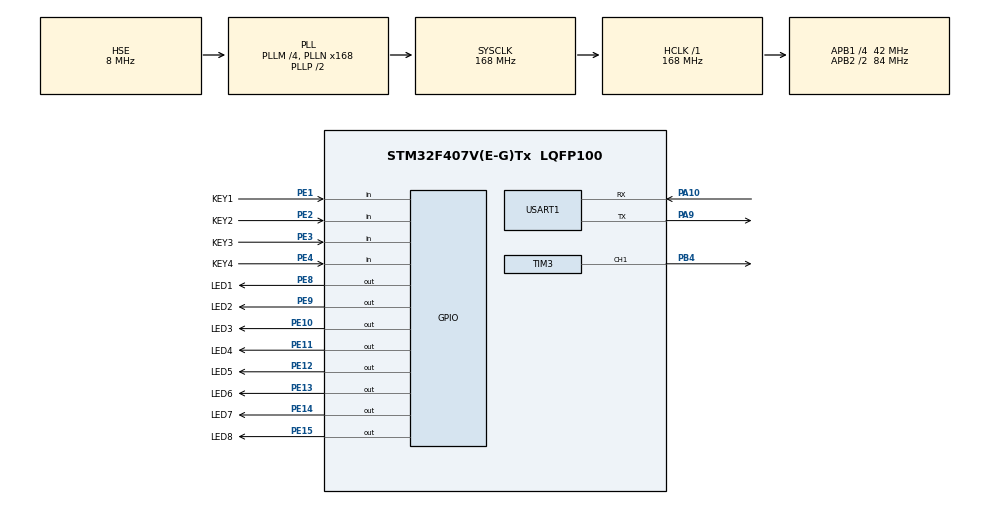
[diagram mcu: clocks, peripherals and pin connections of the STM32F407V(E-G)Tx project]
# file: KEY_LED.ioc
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Mcu.Family=STM32F4
Mcu.Name=STM32F407V(E-G)Tx
Mcu.Package=LQFP100
NVIC.PriorityGroup=NVIC_PRIORITYGROUP_4
NVIC.TIM2_IRQn=true\:1\:0\:true\:false\:true\:true\:true
PA10.Mode=Asynchronous
PA10.Signal=USART1_RX
PA13.Mode=Serial_Wire
PA13.Signal=SYS_JTMS-SWDIO
PA14.Mode=Serial_Wire
PA14.Signal=SYS_JTCK-SWCLK
PA9.Mode=Asynchronous
PA9.Signal=USART1_TX
PB4.Signal=S_TIM3_CH1
PE1.GPIO_Label=KEY1
PE1.GPIO_PuPd=GPIO_PULLUP
PE1.Signal=GPIO_Input
PE10.GPIO_Label=LED3
PE10.PinState=GPIO_PIN_SET
PE10.Signal=GPIO_Output
PE11.GPIO_Label=LED4
PE11.PinState=GPIO_PIN_SET
PE11.Signal=GPIO_Output
PE12.GPIO_Label=LED5
PE12.PinState=GPIO_PIN_SET
PE12.Signal=GPIO_Output
PE13.GPIO_Label=LED6
PE13.PinState=GPIO_PIN_SET
PE13.Signal=GPIO_Output
PE14.GPIO_Label=LED7
PE14.PinState=GPIO_PIN_SET
PE14.Signal=GPIO_Output
PE15.GPIO_Label=LED8
PE15.PinState=GPIO_PIN_SET
PE15.Signal=GPIO_Output
PE2.GPIO_Label=KEY2
PE2.GPIO_PuPd=GPIO_PULLUP
PE2.Signal=GPIO_Input
PE3.GPIO_Label=KEY3
PE3.GPIO_PuPd=GPIO_PULLUP
PE3.Signal=GPIO_Input
PE4.GPIO_Label=KEY4
PE4.GPIO_PuPd=GPIO_PULLUP
PE4.Signal=GPIO_Input
PE8.GPIO_Label=LED1
PE8.PinState=GPIO_PIN_SET
PE8.Signal=GPIO_Output
PE9.GPIO_Label=LED2
PE9.PinState=GPIO_PIN_SET
PE9.Signal=GPIO_Output
PH0-OSC_IN.Mode=HSE-External-Oscillator
PH0-OSC_IN.Signal=RCC_OSC_IN
PH1-OSC_OUT.Mode=HSE-External-Oscillator
PH1-OSC_OUT.Signal=RCC_OSC_OUT
ProjectManager.HeapSize=0x200
ProjectManager.StackSize=0x400
ProjectManager.TargetToolchain=SW4STM32
RCC.48MHZClocksFreq_Value=84000000
RCC.AHBFreq_Value=168000000
RCC.APB1CLKDivider=RCC_HCLK_DIV4
RCC.APB1Freq_Value=42000000
RCC.APB1TimFreq_Value=84000000
RCC.APB2CLKDivider=RCC_HCLK_DIV2
RCC.APB2Freq_Value=84000000
RCC.APB2TimFreq_Value=168000000
RCC.CortexFreq_Value=168000000
RCC.HCLKFreq_Value=168000000
RCC.HSE_VALUE=8000000
RCC.HSI_VALUE=16000000
RCC.LSE_VALUE=32768
RCC.PLLM=4
RCC.PLLN=168
RCC.PLLSourceVirtual=RCC_PLLSOURCE_HSE
RCC.SYSCLKFreq_VALUE=168000000
RCC.SYSCLKSource=RCC_SYSCLKSOURCE_PLLCLK
RCC.VCOOutputFreq_Value=336000000
SH.S_TIM3_CH1.0=TIM3_CH1,PWM Generation1 CH1
TIM2.AutoReloadPreload=TIM_AUTORELOAD_PRELOAD_ENABLE
TIM2.Period=1
TIM2.Prescaler=83
TIM3.AutoReloadPreload=TIM_AUTORELOAD_PRELOAD_ENABLE
TIM3.Channel-PWM\ Generation1\ CH1=TIM_CHANNEL_1
TIM3.OCPolarity_1=TIM_OCPOLARITY_LOW
TIM3.Period=299
TIM3.Prescaler=83
TIM3.Pulse-PWM\ Generation1\ CH1=200
USART1.VirtualMode=VM_ASYNC
VP_TIM2_VS_ClockSourceINT.Mode=Internal
board=custom

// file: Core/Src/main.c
/* USER CODE BEGIN Header */
/**
  ******************************************************************************
  * @file           : main.c
  * @brief          : Main program body
  ******************************************************************************
  * @attention
  *
  * <h2><center>&copy; Copyright (c) 2020 STMicroelectronics.
  * All rights reserved.</center></h2>
  *
  * This software component is licensed by ST under BSD 3-Clause license,
  * the "License"; You may not use this file except in compliance with the
  * License. You may obtain a copy of the License at:
  *                        opensource.org/licenses/BSD-3-Clause
  *
  ******************************************************************************
  */
/* USER CODE END Header */
#include "main.h"
#include "tim.h"
#include "usart.h"
#include "gpio.h"

/* USER CODE BEGIN Includes */
#include <retarget.h>
#include <stdbool.h>
/* USER CODE END Includes */

/* USER CODE BEGIN PV */
bool led_switch = false;
uint32_t led_control_time = 200;
/* USER CODE END PV */

void SystemClock_Config(void);

/* USER CODE BEGIN 0 */
void turnoffLED(void)
{
    HAL_GPIO_WritePin(LED1_GPIO_Port,LED1_Pin,GPIO_PIN_SET);
    HAL_GPIO_WritePin(LED2_GPIO_Port,LED2_Pin,GPIO_PIN_SET);
    HAL_GPIO_WritePin(LED3_GPIO_Port,LED3_Pin,GPIO_PIN_SET);
    HAL_GPIO_WritePin(LED4_GPIO_Port,LED4_Pin,GPIO_PIN_SET);
    HAL_GPIO_WritePin(LED5_GPIO_Port,LED5_Pin,GPIO_PIN_SET);
    HAL_GPIO_WritePin(LED6_GPIO_Port,LED6_Pin,GPIO_PIN_SET);
    HAL_GPIO_WritePin(LED7_GPIO_Port,LED7_Pin,GPIO_PIN_SET);
    HAL_GPIO_WritePin(LED8_GPIO_Port,LED8_Pin,GPIO_PIN_SET);
}

void selectLED(uint8_t led_id)
{
    switch (led_id) {
        case 1:HAL_GPIO_WritePin(LED1_GPIO_Port,LED1_Pin,GPIO_PIN_RESET);break;
        case 2:HAL_GPIO_WritePin(LED2_GPIO_Port,LED2_Pin,GPIO_PIN_RESET);break;
        case 3:HAL_GPIO_WritePin(LED3_GPIO_Port,LED3_Pin,GPIO_PIN_RESET);break;
        case 4:HAL_GPIO_WritePin(LED4_GPIO_Port,LED4_Pin,GPIO_PIN_RESET);break;
        case 5:HAL_GPIO_WritePin(LED5_GPIO_Port,LED5_Pin,GPIO_PIN_RESET);break;
        case 6:HAL_GPIO_WritePin(LED6_GPIO_Port,LED6_Pin,GPIO_PIN_RESET);break;
        case 7:HAL_GPIO_WritePin(LED7_GPIO_Port,LED7_Pin,GPIO_PIN_RESET);break;
        case 8:HAL_GPIO_WritePin(LED8_GPIO_Port,LED8_Pin,GPIO_PIN_RESET);break;
    }
}
/* USER CODE END 0 */

int main(void)
{
  /* USER CODE BEGIN 1 */
    uint8_t led_id = 1;
  /* USER CODE END 1 */

  /* MCU Configuration--------------------------------------------------------*/

  /* Reset of all peripherals, Initializes the Flash interface and the Systick. */
  HAL_Init();

  /* Configure the system clock */
  SystemClock_Config();

  /* Initialize all configured peripherals */
  MX_GPIO_Init();
  MX_USART1_UART_Init();
  MX_TIM2_Init();
  MX_TIM3_Init();
  /* USER CODE BEGIN 2 */
    RetargetInit(&huart1);

    HAL_TIM_Base_Start_IT(&htim2);
  /* USER CODE END 2 */

  /* Infinite loop */
  /* USER CODE BEGIN WHILE */
  while (1)
  {
      if (led_switch){
          turnoffLED();
          selectLED(led_id);
          if(led_id==8){
              led_id = 1;
          }
          else{
              led_id++;
          }
          HAL_Delay(led_control_time);
      }

    /* USER CODE END WHILE */

  }
}

void SystemClock_Config(void)
{
  RCC_OscInitTypeDef RCC_OscInitStruct = {0};
  RCC_ClkInitTypeDef RCC_ClkInitStruct = {0};

  /** Configure the main internal regulator output voltage
  */
  __HAL_RCC_PWR_CLK_ENABLE();
  __HAL_PWR_VOLTAGESCALING_CONFIG(PWR_REGULATOR_VOLTAGE_SCALE1);
  /** Initializes the RCC Oscillators according to the specified parameters
  * in the RCC_OscInitTypeDef structure.
  */
  RCC_OscInitStruct.OscillatorType = RCC_OSCILLATORTYPE_HSE;
  RCC_OscInitStruct.HSEState = RCC_HSE_ON;
  RCC_OscInitStruct.PLL.PLLState = RCC_PLL_ON;
  RCC_OscInitStruct.PLL.PLLSource = RCC_PLLSOURCE_HSE;
  RCC_OscInitStruct.PLL.PLLM = 4;
  RCC_OscInitStruct.PLL.PLLN = 168;
  RCC_OscInitStruct.PLL.PLLP = RCC_PLLP_DIV2;
  RCC_OscInitStruct.PLL.PLLQ = 4;
  if (HAL_RCC_OscConfig(&RCC_OscInitStruct) != HAL_OK)
  {
    Error_Handler();
  }
  /** Initializes the CPU, AHB and APB buses clocks
  */
  RCC_ClkInitStruct.ClockType = RCC_CLOCKTYPE_HCLK|RCC_CLOCKTYPE_SYSCLK
                              |RCC_CLOCKTYPE_PCLK1|RCC_CLOCKTYPE_PCLK2;
  RCC_ClkInitStruct.SYSCLKSource = RCC_SYSCLKSOURCE_PLLCLK;
  RCC_ClkInitStruct.AHBCLKDivider = RCC_SYSCLK_DIV1;
  RCC_ClkInitStruct.APB1CLKDivider = RCC_HCLK_DIV4;
  RCC_ClkInitStruct.APB2CLKDivider = RCC_HCLK_DIV2;

  if (HAL_RCC_ClockConfig(&RCC_ClkInitStruct, FLASH_LATENCY_5) != HAL_OK)
  {
    Error_Handler();
  }
}

void Error_Handler(void)
{
}

/************************ (C) COPYRIGHT STMicroelectronics *****END OF FILE****/
